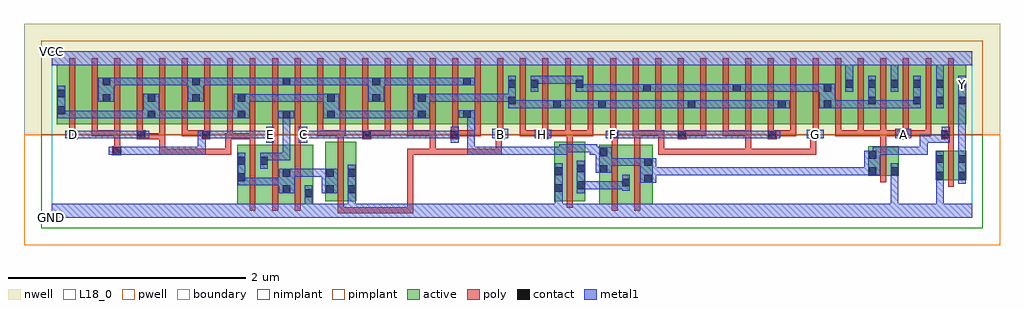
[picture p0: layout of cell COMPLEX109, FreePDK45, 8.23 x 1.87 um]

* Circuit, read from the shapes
.subckt COMPLEX109 A B C D E F G GND H VCC Y
M1 n1 D n2 VSUBS nfet w=0.5u l=0.05u
M2 n2 E n1 VSUBS nfet w=0.5u l=0.05u
M3 GND C n2 VSUBS nfet w=0.5u l=0.05u
M4 GND B n2 VSUBS nfet w=0.5u l=0.05u
M5 n3 H GND VSUBS nfet w=0.5u l=0.05u
M6 n3 F n1 VSUBS nfet w=0.5u l=0.05u
M7 n1 G n3 VSUBS nfet w=0.5u l=0.05u
M8 GND A n1 VSUBS nfet w=0.25u l=0.05u
M9 Y n1 GND VSUBS nfet w=0.25u l=0.05u
M10 n4 D n5 n6 pfet w=0.5u l=0.05u
M11 n1 E n4 n6 pfet w=0.5u l=0.05u
M12 n7 E n1 n6 pfet w=0.5u l=0.05u
M13 n5 D n7 n6 pfet w=0.5u l=0.05u
M14 n8 D n5 n6 pfet w=0.5u l=0.05u
M15 n1 E n8 n6 pfet w=0.5u l=0.05u
M16 n9 E n1 n6 pfet w=0.5u l=0.05u
M17 n5 D n9 n6 pfet w=0.5u l=0.05u
M18 n10 D n5 n6 pfet w=0.5u l=0.05u
M19 n1 E n10 n6 pfet w=0.5u l=0.05u
M20 n11 C n1 n6 pfet w=0.5u l=0.05u
M21 n5 B n11 n6 pfet w=0.5u l=0.05u
M22 n12 B n5 n6 pfet w=0.5u l=0.05u
M23 n1 C n12 n6 pfet w=0.5u l=0.05u
M24 n13 C n1 n6 pfet w=0.5u l=0.05u
M25 n5 B n13 n6 pfet w=0.5u l=0.05u
M26 n14 B n5 n6 pfet w=0.5u l=0.05u
M27 n1 C n14 n6 pfet w=0.5u l=0.05u
M28 n15 C n1 n6 pfet w=0.5u l=0.05u
M29 n5 B n15 n6 pfet w=0.5u l=0.05u
M30 n16 H n5 n6 pfet w=0.5u l=0.05u m=4
M31 n17 F n5 n6 pfet w=0.5u l=0.05u
M32 n16 G n17 n6 pfet w=0.5u l=0.05u
M33 n18 G n16 n6 pfet w=0.5u l=0.05u
M34 n5 F n18 n6 pfet w=0.5u l=0.05u
M35 n19 F n5 n6 pfet w=0.5u l=0.05u
M36 n16 G n19 n6 pfet w=0.5u l=0.05u
M37 n20 G n16 n6 pfet w=0.5u l=0.05u
M38 n5 F n20 n6 pfet w=0.5u l=0.05u
M39 n21 F n5 n6 pfet w=0.5u l=0.05u
M40 n16 G n21 n6 pfet w=0.5u l=0.05u
M41 VCC A n16 n6 pfet w=0.5u l=0.05u m=5
M42 Y n1 VCC n6 pfet w=0.5u l=0.05u
.ends

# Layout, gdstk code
import gdstk
lib = gdstk.Library(unit=1e-6, precision=1e-09)
def R(c, l, rs):  # rectangles x0, y0, x1, y1
    for r in rs: c.add(gdstk.rectangle(r[:2], r[2:], *l))
def A(c, l, x, y, w, h, nx, ny, dx, dy):  # array of equal rectangles
    R(c, l, [(x+i*dx, y+j*dy, x+i*dx+w, y+j*dy+h) for i in range(nx) for j in range(ny)])
active = (1, 0)
pwell = (2, 0)
nwell = (3, 0)
nimplant = (4, 0)
pimplant = (5, 0)
poly = (9, 0)
contact = (10, 0)
metal1 = (11, 0)
L18_0 = (18, 0)
boundary = (235, 0)

complex109 = lib.new_cell('COMPLEX109')
A(complex109, active, 0.042, 0.787, 0.225, 0.5, 3, 1, 0.38, 0)
A(complex109, active, 2.927, 0.787, 0.23, 0.5, 3, 1, 0.38, 0)
A(complex109, active, 3.842, 0.787, 0.265, 0.5, 4, 1, 0.19, 0)
A(complex109, active, 5.207, 0.787, 0.225, 0.5, 3, 1, 0.38, 0)
A(complex109, active, 5.357, 0.787, 0.23, 0.5, 3, 1, 0.38, 0)
A(complex109, active, 6.687, 0.787, 0.265, 0.5, 3, 1, 0.19, 0)
A(complex109, active, 6.877, 0.787, 0.075, 0.413, 3, 1, 0.38, 0)
R(complex109, active, [(1.562,0.112,1.827,0.612), (1.752,0.112,2.017,0.612), (1.942,0.112,2.202,0.612), (4.615,0.112,4.88,0.612), (4.805,0.112,5.065,0.612), (2.127,0.132,2.202,0.612), (2.307,0.137,2.567,0.637), (4.237,0.137,4.497,0.637), (1.562,0.145,1.637,0.612), (1.752,0.145,1.827,0.592), (1.942,0.145,2.017,0.592), (2.307,0.145,2.382,0.637), (2.492,0.145,2.567,0.637), (4.237,0.145,4.312,0.637), (4.422,0.145,4.497,0.637), (4.615,0.145,4.69,0.612), (4.805,0.145,4.88,0.592), (4.99,0.145,5.065,0.612), (7.452,0.315,7.527,0.565), (7.452,0.315,7.712,0.565), (7.637,0.315,7.712,0.565), (6.882,0.352,6.957,0.602), (6.882,0.352,7.142,0.602), (7.067,0.352,7.142,0.602), (0.042,0.787,0.147,1.2), (0.267,0.787,0.497,1.287), (0.422,0.787,0.497,1.2), (0.647,0.787,0.877,1.287), (0.802,0.787,0.877,1.07), (1.027,0.787,1.252,1.287), (1.177,0.787,1.252,1.2), (1.177,0.787,1.407,1.287), (1.407,0.787,1.637,1.287), (1.562,0.787,1.637,1.07), (1.562,0.787,1.787,1.287), (1.787,0.787,2.015,1.287), (1.94,0.787,2.015,1.2), (1.94,0.787,2.167,1.287), (2.167,0.787,2.392,1.287), (2.317,0.787,2.547,1.287), (2.317,0.787,2.392,1.07), (2.547,0.787,2.772,1.287), (2.697,0.787,2.772,1.2), (2.697,0.787,2.927,1.287), (3.082,0.787,3.157,1.07), (3.082,0.787,3.307,1.287), (3.462,0.787,3.537,1.2), (3.462,0.787,3.687,1.287), (3.842,0.787,3.917,1.2), (4.032,0.787,4.107,1.2), (4.222,0.787,4.297,1.07), (4.412,0.787,4.487,1.2), (4.602,0.787,4.677,1.07), (4.602,0.787,4.827,1.287), (4.827,0.787,5.057,1.287), (4.982,0.787,5.057,1.2), (4.982,0.787,5.207,1.287), (5.357,0.787,5.432,1.07), (5.737,0.787,5.812,1.2), (6.117,0.787,6.192,1.07), (6.347,0.787,6.577,1.287), (6.502,0.787,6.762,1.287), (6.502,0.787,6.577,1.2), (6.687,0.787,6.762,1.287), (7.067,0.787,7.142,1.287), (7.257,0.787,7.527,1.287), (7.452,0.787,7.712,1.287), (7.452,0.787,7.527,1.287)])
R(complex109, pwell, [(-0.235,-0.235,7.995,0.7)])
R(complex109, nwell, [(-0.235,0.7,7.995,1.635)])
R(complex109, nimplant, [(-0.09,-0.09,7.85,0.7)])
R(complex109, pimplant, [(-0.09,0.7,7.85,1.49)])
A(complex109, poly, 1.667, 0.057, 0.05, 0.61, 3, 1, 0.19, 0)
A(complex109, poly, 1.667, 0.617, 0.05, 0.095, 3, 1, 0.19, 0)
A(complex109, poly, 0.147, 0.687, 0.05, 0.095, 4, 1, 0.19, 0)
A(complex109, poly, 1.857, 0.687, 0.05, 0.095, 31, 1, 0.19, 0)
A(complex109, poly, 5.467, 0.687, 0.05, 0.05, 3, 1, 0.19, 0)
A(complex109, poly, 0.147, 0.732, 0.05, 0.61, 40, 1, 0.19, 0)
R(complex109, poly, [(2.412,0.037,2.462,0.132), (2.412,0.037,2.462,0.087), (2.412,0.037,2.462,0.087), (2.412,0.037,2.462,0.087), (2.412,0.037,2.725,0.087), (2.675,0.037,2.915,0.087), (2.675,0.037,2.725,0.087), (2.675,0.037,2.725,0.087), (2.675,0.037,2.725,0.087), (2.865,0.037,2.915,0.087), (2.865,0.037,2.915,0.087), (2.865,0.037,2.915,0.087), (2.865,0.037,2.915,0.087), (2.865,0.037,2.915,0.087), (2.865,0.037,3.047,0.087), (2.997,0.037,3.047,0.087), (2.997,0.037,3.047,0.58), (4.72,0.057,4.77,0.667), (4.91,0.057,4.96,0.667), (2.412,0.082,2.462,0.692), (4.342,0.082,4.392,0.692), (7.557,0.26,7.607,0.62), (6.987,0.297,7.037,0.657), (0.51,0.525,0.585,0.6), (0.907,0.53,0.957,0.58), (0.907,0.53,0.957,0.58), (0.907,0.53,0.957,0.58), (0.907,0.53,0.957,0.712), (0.907,0.53,1.18,0.58), (1.13,0.53,1.18,0.58), (1.13,0.53,1.312,0.58), (1.262,0.53,1.312,0.58), (1.262,0.53,1.312,0.58), (1.262,0.53,1.312,0.58), (1.262,0.53,1.512,0.58), (1.462,0.53,1.512,0.58), (1.462,0.53,1.512,0.58), (1.462,0.53,1.512,0.58), (1.462,0.53,1.512,0.58), (1.462,0.53,1.512,0.58), (1.462,0.53,1.512,0.712), (2.997,0.53,3.237,0.58), (2.997,0.53,3.047,0.58), (2.997,0.53,3.047,0.58), (2.997,0.53,3.047,0.58), (3.187,0.53,3.237,0.58), (3.187,0.53,3.237,0.58), (3.187,0.53,3.237,0.58), (3.187,0.53,3.237,0.58), (3.187,0.53,3.237,0.58), (3.187,0.53,3.237,0.58), (3.187,0.53,3.237,0.58), (3.187,0.53,3.237,0.737), (3.187,0.53,3.37,0.58), (3.32,0.53,3.37,0.58), (3.32,0.53,3.37,0.58), (3.32,0.53,3.37,0.58), (3.32,0.53,3.567,0.58), (3.517,0.53,3.567,0.58), (3.517,0.53,3.792,0.58), (3.742,0.53,3.792,0.58), (3.742,0.53,3.792,0.58), (3.742,0.53,3.792,0.58), (3.742,0.53,3.792,0.58), (3.742,0.53,3.792,0.58), (3.742,0.53,3.792,0.712), (5.115,0.53,5.165,0.58), (5.115,0.53,5.165,0.58), (5.115,0.53,5.165,0.58), (5.115,0.53,5.335,0.58), (5.115,0.53,5.165,0.737), (5.285,0.53,5.335,0.58), (5.285,0.53,5.485,0.58), (5.435,0.53,5.485,0.58), (5.435,0.53,5.485,0.58), (5.435,0.53,5.485,0.58), (5.435,0.53,5.65,0.58), (5.6,0.53,5.65,0.58), (5.6,0.53,5.65,0.58), (5.6,0.53,5.65,0.58), (5.6,0.53,5.897,0.58), (5.847,0.53,5.897,0.58), (5.847,0.53,5.897,0.58), (5.847,0.53,5.897,0.58), (5.847,0.53,5.897,0.58), (5.847,0.53,5.897,0.58), (5.847,0.53,6.145,0.58), (5.847,0.53,5.897,0.737), (6.095,0.53,6.145,0.58), (6.095,0.53,6.145,0.58), (6.095,0.53,6.145,0.58), (6.095,0.53,6.277,0.58), (6.227,0.53,6.277,0.58), (6.227,0.53,6.277,0.58), (6.227,0.53,6.277,0.58), (6.227,0.53,6.447,0.58), (6.397,0.53,6.447,0.58), (6.397,0.53,6.447,0.58), (6.397,0.53,6.447,0.58), (6.397,0.53,6.447,0.58), (6.397,0.53,6.447,0.58), (6.397,0.53,6.447,0.712), (0.527,0.55,0.577,0.6), (0.527,0.55,0.577,0.6), (0.527,0.55,0.577,0.737), (7.557,0.57,7.607,0.712), (6.987,0.607,7.037,0.737), (4.72,0.617,4.77,0.712), (4.91,0.617,4.96,0.737), (2.412,0.642,2.462,0.737), (4.342,0.642,4.392,0.737), (0.142,0.662,0.217,0.737), (0.717,0.662,0.792,0.737), (0.742,0.662,0.792,0.712), (0.742,0.662,0.792,0.712), (0.742,0.662,0.957,0.712), (0.907,0.662,0.957,0.712), (0.907,0.662,0.957,0.712), (0.907,0.662,0.957,0.712), (0.907,0.662,0.957,0.782), (1.262,0.662,1.337,0.737), (1.462,0.662,1.527,0.712), (1.477,0.662,1.717,0.712), (1.477,0.662,1.527,0.782), (1.667,0.662,1.717,0.712), (1.667,0.662,1.717,0.712), (1.667,0.662,1.717,0.712), (1.667,0.662,1.717,0.782), (1.802,0.662,1.907,0.737), (2.047,0.662,2.152,0.737), (2.617,0.662,2.692,0.737), (3.36,0.662,3.435,0.737), (3.742,0.662,3.817,0.737), (4.107,0.662,4.187,0.737), (4.702,0.662,4.777,0.737), (5.277,0.662,5.352,0.737), (6.037,0.662,6.112,0.737), (6.397,0.662,6.472,0.737), (7.142,0.662,7.227,0.737), (7.5,0.662,7.607,0.737), (0.337,0.687,0.577,0.737), (0.337,0.687,0.387,0.737), (0.527,0.687,0.577,0.737), (0.527,0.687,0.577,0.737), (0.527,0.687,0.577,0.737), (1.097,0.687,1.147,0.782), (1.097,0.687,1.147,0.737), (1.097,0.687,1.147,0.737), (1.097,0.687,1.147,0.737), (1.097,0.687,1.312,0.737), (1.287,0.687,1.337,0.782), (2.237,0.687,2.287,0.737), (2.237,0.687,2.287,0.737), (2.237,0.687,2.287,0.737), (2.237,0.687,2.462,0.737), (2.412,0.687,2.477,0.737), (2.642,0.687,2.692,0.737), (2.642,0.687,2.692,0.737), (2.642,0.687,2.857,0.737), (2.807,0.687,2.857,0.737), (2.997,0.687,3.237,0.737), (2.997,0.687,3.047,0.737), (2.997,0.687,3.047,0.737), (2.997,0.687,3.047,0.737), (3.187,0.687,3.237,0.737), (3.385,0.687,3.617,0.737), (3.567,0.687,3.617,0.737), (3.567,0.687,3.617,0.737), (3.567,0.687,3.617,0.737), (3.947,0.687,3.997,0.737), (3.947,0.687,3.997,0.737), (3.947,0.687,3.997,0.737), (3.947,0.687,4.157,0.737), (4.137,0.687,4.377,0.737), (4.137,0.687,4.187,0.737), (4.137,0.687,4.187,0.737), (4.327,0.687,4.392,0.737), (4.342,0.687,4.392,0.737), (4.342,0.687,4.392,0.737), (4.342,0.687,4.567,0.737), (4.517,0.687,4.567,0.737), (4.897,0.687,4.96,0.737), (4.91,0.687,4.96,0.737), (4.91,0.687,4.96,0.737), (4.91,0.687,5.137,0.737), (5.087,0.687,5.157,0.737), (5.107,0.687,5.157,0.737), (5.107,0.687,5.165,0.737), (5.302,0.687,5.517,0.737), (5.467,0.687,5.517,0.737), (5.467,0.687,5.517,0.737), (5.657,0.687,5.897,0.737), (5.847,0.687,5.897,0.737), (5.847,0.687,5.897,0.737), (6.062,0.687,6.277,0.737), (6.227,0.687,6.277,0.737), (6.227,0.687,6.277,0.737), (6.227,0.687,6.277,0.737), (6.607,0.687,6.847,0.737), (6.607,0.687,6.657,0.737), (6.607,0.687,6.657,0.737), (6.607,0.687,6.657,0.737), (6.797,0.687,7.037,0.737), (6.797,0.687,6.847,0.737), (6.797,0.687,6.847,0.737), (6.797,0.687,6.847,0.737), (6.987,0.687,7.037,0.737), (6.987,0.687,7.037,0.737), (6.987,0.687,7.037,0.737), (6.987,0.687,7.192,0.737), (7.177,0.687,7.417,0.737), (7.177,0.687,7.227,0.737), (7.177,0.687,7.227,0.737), (7.367,0.687,7.417,0.737)])
A(complex109, contact, 6.692, 1.095, 0.065, 0.065, 4, 1, 0.19, 0)
R(complex109, contact, [(2.132,0.172,2.197,0.237), (1.947,0.205,2.012,0.27), (2.312,0.205,2.377,0.27), (2.497,0.205,2.562,0.27), (4.242,0.217,4.307,0.282), (4.427,0.24,4.492,0.305), (4.81,0.262,4.875,0.327), (4.995,0.295,5.06,0.36), (1.567,0.307,1.632,0.372), (7.457,0.32,7.522,0.385), (7.642,0.32,7.707,0.385), (1.947,0.345,2.012,0.41), (2.312,0.345,2.377,0.41), (2.497,0.345,2.562,0.41), (4.242,0.357,4.307,0.422), (6.887,0.357,6.952,0.422), (7.072,0.357,7.137,0.422), (4.62,0.377,4.685,0.442), (4.427,0.38,4.492,0.445), (4.995,0.435,5.06,0.5), (1.567,0.447,1.632,0.512), (1.757,0.447,1.822,0.512), (7.457,0.46,7.522,0.525), (7.642,0.46,7.707,0.525), (6.887,0.497,6.952,0.562), (4.62,0.517,4.685,0.582), (0.515,0.53,0.58,0.595), (0.147,0.667,0.212,0.732), (0.722,0.667,0.787,0.732), (1.267,0.667,1.332,0.732), (1.807,0.667,1.872,0.732), (2.082,0.667,2.147,0.732), (2.622,0.667,2.687,0.732), (3.365,0.667,3.43,0.732), (3.747,0.667,3.812,0.732), (4.112,0.667,4.177,0.732), (4.707,0.667,4.772,0.732), (5.282,0.667,5.347,0.732), (6.042,0.667,6.107,0.732), (6.402,0.667,6.467,0.732), (7.147,0.667,7.212,0.732), (7.505,0.667,7.57,0.732), (0.807,0.837,0.872,0.902), (1.567,0.837,1.632,0.902), (1.945,0.837,2.01,0.902), (2.322,0.837,2.387,0.902), (3.087,0.837,3.152,0.902), (3.467,0.84,3.532,0.905), (0.047,0.872,0.112,0.937), (4.227,0.922,4.292,0.987), (4.607,0.922,4.672,0.987), (5.362,0.922,5.427,0.987), (6.122,0.922,6.187,0.987), (6.507,0.922,6.572,0.987), (3.847,0.955,3.912,1.02), (6.882,0.955,6.947,1.02), (7.262,0.955,7.327,1.02), (7.457,0.955,7.522,1.02), (7.642,0.955,7.707,1.02), (0.427,0.975,0.492,1.04), (1.182,0.975,1.247,1.04), (2.702,0.975,2.767,1.04), (0.807,0.977,0.872,1.042), (1.567,0.977,1.632,1.042), (2.322,0.977,2.387,1.042), (3.087,0.977,3.152,1.042), (0.047,1.012,0.112,1.077), (4.987,1.06,5.052,1.125), (5.742,1.06,5.807,1.125), (6.507,1.062,6.572,1.127), (3.847,1.095,3.912,1.16), (4.037,1.095,4.102,1.16), (4.417,1.095,4.482,1.16), (7.457,1.095,7.522,1.16), (7.642,1.095,7.707,1.16), (0.427,1.115,0.492,1.18), (1.182,1.115,1.247,1.18), (1.945,1.115,2.01,1.18), (2.702,1.115,2.767,1.18), (3.467,1.115,3.532,1.18)])
R(complex109, metal1, [(0,0,7.76,0.115), (2.132,0.05,2.197,0.202), (2.497,0.05,2.562,0.115), (2.497,0.05,2.562,0.115), (2.497,0.05,2.562,0.235), (4.242,0.05,4.307,0.115), (4.242,0.05,4.307,0.115), (4.242,0.05,4.307,0.247), (7.072,0.05,7.137,0.387), (7.457,0.05,7.522,0.115), (7.457,0.05,7.522,0.115), (7.457,0.05,7.522,0.115), (7.457,0.05,7.522,0.115), (7.457,0.05,7.522,0.115), (7.457,0.05,7.522,0.115), (7.457,0.05,7.522,0.35), (2.132,0.137,2.197,0.202), (2.132,0.137,2.197,0.202), (2.132,0.137,2.197,0.272), (2.497,0.17,2.562,0.445), (4.242,0.182,4.307,0.457), (1.912,0.205,2.047,0.41), (2.277,0.205,2.412,0.41), (4.427,0.205,4.492,0.48), (4.81,0.227,4.875,0.362), (4.427,0.24,4.492,0.305), (4.427,0.24,4.492,0.305), (4.427,0.24,4.737,0.305), (4.672,0.24,4.737,0.305), (4.672,0.24,4.737,0.305), (4.672,0.24,4.737,0.305), (4.672,0.24,4.875,0.305), (1.567,0.272,1.632,0.547), (1.567,0.272,1.667,0.337), (1.602,0.272,1.667,0.337), (1.602,0.272,1.822,0.337), (1.757,0.272,1.822,0.337), (1.757,0.272,1.822,0.337), (1.757,0.272,1.822,0.337), (1.757,0.272,1.977,0.337), (7.457,0.285,7.522,0.56), (7.642,0.285,7.707,0.56), (4.96,0.295,5.095,0.5), (7.072,0.322,7.137,0.387), (7.072,0.322,7.137,0.387), (7.072,0.322,7.137,0.387), (7.072,0.322,7.137,0.387), (7.072,0.322,7.137,0.387), (7.072,0.322,7.137,0.387), (7.072,0.322,7.137,0.457), (1.982,0.345,2.047,0.41), (1.982,0.345,2.047,0.41), (1.982,0.345,2.185,0.41), (2.12,0.345,2.185,0.41), (2.12,0.345,2.342,0.41), (2.277,0.345,2.342,0.41), (2.277,0.345,2.342,0.41), (5.03,0.357,5.175,0.422), (5.11,0.357,5.175,0.422), (5.11,0.357,5.232,0.422), (5.167,0.357,5.232,0.422), (5.167,0.357,5.455,0.422), (5.39,0.357,5.455,0.422), (5.39,0.357,5.455,0.422), (5.39,0.357,5.455,0.422), (5.39,0.357,5.6,0.422), (5.535,0.357,5.6,0.422), (5.535,0.357,5.6,0.422), (5.535,0.357,5.6,0.422), (5.535,0.357,5.737,0.422), (5.672,0.357,5.737,0.422), (5.672,0.357,5.877,0.422), (5.812,0.357,5.877,0.422), (5.812,0.357,5.877,0.422), (5.812,0.357,5.877,0.422), (5.812,0.357,6.015,0.422), (5.95,0.357,6.015,0.422), (5.95,0.357,6.015,0.422), (5.95,0.357,6.015,0.422), (5.95,0.357,6.152,0.422), (6.087,0.357,6.152,0.422), (6.087,0.357,6.295,0.422), (6.23,0.357,6.295,0.422), (6.23,0.357,6.295,0.422), (6.23,0.357,6.295,0.422), (6.23,0.357,6.432,0.422), (6.367,0.357,6.432,0.422), (6.367,0.357,6.57,0.422), (6.505,0.357,6.57,0.422), (6.505,0.357,6.57,0.422), (6.505,0.357,6.57,0.422), (6.505,0.357,6.745,0.422), (6.68,0.357,6.745,0.422), (6.68,0.357,6.745,0.422), (6.68,0.357,6.745,0.422), (6.68,0.357,6.917,0.422), (6.852,0.357,6.987,0.562), (4.585,0.377,4.72,0.595), (1.757,0.412,1.822,0.547), (4.655,0.435,4.875,0.5), (4.81,0.435,4.875,0.5), (4.81,0.435,4.875,0.5), (4.81,0.435,4.875,0.5), (4.81,0.435,5.025,0.5), (4.96,0.435,5.025,0.5), (4.96,0.435,5.025,0.5), (1.757,0.482,1.822,0.547), (1.757,0.482,1.822,0.547), (1.757,0.482,2.01,0.547), (1.945,0.482,2.01,0.547), (1.945,0.482,2.01,0.902), (7.642,0.495,7.707,0.56), (7.642,0.495,7.707,0.56), (7.642,0.495,7.707,0.56), (7.642,0.495,7.707,0.56), (7.642,0.495,7.707,0.985), (6.922,0.497,6.987,0.595), (0.48,0.53,0.615,0.595), (0.55,0.53,0.7,0.595), (0.635,0.53,0.7,0.595), (0.635,0.53,0.765,0.595), (0.7,0.53,0.765,0.595), (0.7,0.53,0.937,0.595), (0.872,0.53,0.937,0.595), (0.872,0.53,0.937,0.595), (0.872,0.53,0.937,0.595), (0.872,0.53,0.937,0.595), (0.872,0.53,0.937,0.595), (0.872,0.53,1.075,0.595), (1.01,0.53,1.075,0.595), (1.01,0.53,1.075,0.595), (1.01,0.53,1.075,0.595), (1.01,0.53,1.297,0.595), (1.232,0.53,1.297,0.595), (1.232,0.53,1.297,0.732), (3.502,0.53,3.567,0.595), (3.502,0.53,3.567,0.595), (3.502,0.53,3.567,0.595), (3.502,0.53,3.705,0.595), (3.502,0.53,3.567,0.905), (3.64,0.53,3.705,0.595), (3.64,0.53,3.705,0.595), (3.64,0.53,3.705,0.595), (3.64,0.53,3.842,0.595), (3.777,0.53,3.842,0.595), (3.777,0.53,3.842,0.595), (3.777,0.53,3.842,0.595), (3.777,0.53,3.842,0.595), (3.777,0.53,3.842,0.595), (3.777,0.53,4.12,0.595), (4.055,0.53,4.12,0.595), (4.055,0.53,4.12,0.595), (4.055,0.53,4.12,0.595), (4.055,0.53,4.345,0.595), (4.28,0.53,4.345,0.595), (4.28,0.53,4.345,0.595), (4.28,0.53,4.345,0.617), (4.535,0.53,4.65,0.595), (4.535,0.53,4.6,0.617), (6.922,0.53,6.987,0.595), (6.922,0.53,6.987,0.595), (6.922,0.53,6.987,0.595), (6.922,0.53,7.19,0.595), (7.125,0.53,7.19,0.595), (7.125,0.53,7.19,0.595), (7.125,0.53,7.19,0.595), (7.125,0.53,7.385,0.595), (7.32,0.53,7.385,0.595), (7.32,0.53,7.385,0.595), (7.32,0.53,7.385,0.697), (4.28,0.552,4.5,0.617), (4.435,0.552,4.5,0.617), (4.435,0.552,4.6,0.617), (1.807,0.632,1.872,0.767), (2.082,0.632,2.152,0.767), (3.365,0.632,3.43,0.767), (7.32,0.632,7.385,0.697), (7.32,0.632,7.385,0.697), (7.32,0.632,7.57,0.697), (7.505,0.632,7.57,0.697), (7.505,0.632,7.57,0.697), (7.505,0.632,7.57,0.767), (0.112,0.667,0.247,0.732), (0.182,0.667,0.25,0.732), (0.185,0.667,0.25,0.732), (0.185,0.667,0.387,0.732), (0.322,0.667,0.387,0.732), (0.322,0.667,0.387,0.732), (0.322,0.667,0.387,0.732), (0.322,0.667,0.615,0.732), (0.55,0.667,0.615,0.732), (0.55,0.667,0.665,0.732), (0.6,0.667,0.665,0.732), (0.6,0.667,0.752,0.732), (0.687,0.667,0.822,0.732), (1.232,0.667,1.297,0.732), (1.232,0.667,1.297,0.732), (1.232,0.667,1.367,0.732), (1.302,0.667,1.46,0.732), (1.395,0.667,1.46,0.732), (1.395,0.667,1.53,0.732), (1.465,0.667,1.53,0.732), (1.465,0.667,1.685,0.732), (1.62,0.667,1.685,0.732), (1.62,0.667,1.685,0.732), (1.62,0.667,1.685,0.732), (1.62,0.667,1.837,0.732), (1.772,0.667,1.837,0.732), (1.772,0.667,1.872,0.732), (2.087,0.667,2.185,0.732), (2.12,0.667,2.185,0.732), (2.12,0.667,2.377,0.732), (2.312,0.667,2.377,0.732), (2.312,0.667,2.377,0.732), (2.312,0.667,2.377,0.732), (2.312,0.667,2.515,0.732), (2.45,0.667,2.515,0.732), (2.45,0.667,2.585,0.732), (2.52,0.667,2.585,0.732), (2.52,0.667,2.652,0.732), (2.587,0.667,2.722,0.732), (2.657,0.667,2.722,0.732), (2.657,0.667,2.722,0.732), (2.657,0.667,2.98,0.732), (2.915,0.667,2.98,0.732), (2.915,0.667,2.98,0.732), (2.915,0.667,2.98,0.732), (2.915,0.667,3.117,0.732), (3.052,0.667,3.117,0.732), (3.052,0.667,3.117,0.732), (3.052,0.667,3.117,0.732), (3.052,0.667,3.255,0.732), (3.19,0.667,3.255,0.732), (3.19,0.667,3.325,0.732), (3.26,0.667,3.325,0.732), (3.26,0.667,3.43,0.732), (3.712,0.667,3.847,0.75), (4.072,0.667,4.212,0.742), (4.672,0.667,4.807,0.732), (4.742,0.667,4.88,0.732), (4.815,0.667,4.88,0.732), (4.815,0.667,5.037,0.732), (4.972,0.667,5.037,0.732), (4.972,0.667,5.037,0.732), (4.972,0.667,5.037,0.732), (4.972,0.667,5.175,0.732), (5.11,0.667,5.175,0.732), (5.11,0.667,5.245,0.732), (5.18,0.667,5.245,0.732), (5.18,0.667,5.312,0.732), (5.247,0.667,5.382,0.732), (5.317,0.667,5.382,0.732), (5.317,0.667,5.382,0.732), (5.317,0.667,5.6,0.732), (5.535,0.667,5.6,0.732), (5.535,0.667,5.6,0.732), (5.535,0.667,5.6,0.732), (5.535,0.667,5.737,0.732), (5.672,0.667,5.737,0.732), (5.672,0.667,5.875,0.732), (5.81,0.667,5.875,0.732), (5.81,0.667,5.875,0.732), (5.81,0.667,5.875,0.732), (5.81,0.667,6.015,0.732), (5.95,0.667,6.015,0.732), (5.95,0.667,6.072,0.732), (6.007,0.667,6.142,0.732), (6.367,0.667,6.507,0.742), (7.112,0.667,7.247,0.75), (0.047,0.837,0.112,1.112), (0.047,0.837,0.25,0.902), (0.185,0.837,0.25,0.902), (0.185,0.837,0.25,0.902), (0.185,0.837,0.25,0.902), (0.185,0.837,0.387,0.902), (0.322,0.837,0.387,0.902), (0.322,0.837,0.387,0.902), (0.322,0.837,0.387,0.902), (0.322,0.837,0.615,0.902), (0.55,0.837,0.615,0.902), (0.55,0.837,0.665,0.902), (0.6,0.837,0.665,0.902), (0.6,0.837,0.77,0.902), (0.705,0.837,0.77,0.902), (0.705,0.837,0.837,0.902), (0.772,0.837,0.907,1.042), (0.842,0.837,0.907,0.902), (0.842,0.837,0.907,0.902), (0.842,0.837,1.075,0.902), (1.01,0.837,1.075,0.902), (1.01,0.837,1.075,0.902), (1.01,0.837,1.075,0.902), (1.01,0.837,1.212,0.902), (1.147,0.837,1.212,0.902), (1.147,0.837,1.212,0.902), (1.147,0.837,1.212,0.902), (1.147,0.837,1.435,0.902), (1.37,0.837,1.435,0.902), (1.37,0.837,1.53,0.902), (1.465,0.837,1.53,0.902), (1.465,0.837,1.597,0.902), (1.532,0.837,1.667,1.042), (1.91,0.837,2.045,0.902), (1.945,0.837,2.01,0.902), (1.945,0.837,2.01,0.902), (2.287,0.837,2.422,1.042), (2.357,0.837,2.515,0.902), (2.45,0.837,2.515,0.902), (2.45,0.837,2.585,0.902), (2.52,0.837,2.585,0.902), (2.52,0.837,2.802,0.902), (2.737,0.837,2.802,0.902), (2.737,0.837,2.802,0.902), (2.737,0.837,2.802,0.902), (2.737,0.837,2.94,0.902), (2.875,0.837,2.94,0.902), (2.875,0.837,2.94,0.902), (2.875,0.837,2.94,0.902), (2.875,0.837,3.117,0.902), (3.052,0.837,3.117,0.902), (3.052,0.837,3.117,0.902), (3.052,0.837,3.187,1.042), (3.432,0.84,3.567,0.905), (3.502,0.84,3.567,0.905), (3.502,0.84,3.567,0.905), (3.847,0.92,3.912,1.195), (6.882,0.92,6.947,1.195), (7.262,0.92,7.327,1.195), (7.457,0.92,7.522,1.195), (7.642,0.92,7.707,0.985), (7.642,0.92,7.707,0.985), (7.642,0.92,7.712,1.195), (3.847,0.922,3.912,0.987), (3.847,0.922,3.912,0.987), (3.847,0.922,4.12,0.987), (4.055,0.922,4.12,0.987), (4.055,0.922,4.12,0.987), (4.055,0.922,4.12,0.987), (4.055,0.922,4.257,0.987), (4.192,0.922,4.327,0.987), (4.262,0.922,4.327,0.987), (4.262,0.922,4.327,0.987), (4.262,0.922,4.5,0.987), (4.435,0.922,4.5,0.987), (4.435,0.922,4.5,0.987), (4.435,0.922,4.5,0.987), (4.435,0.922,4.637,0.987), (4.572,0.922,4.707,0.987), (4.642,0.922,4.875,0.987), (4.81,0.922,4.875,0.987), (4.81,0.922,4.875,0.987), (4.81,0.922,4.875,0.987), (4.81,0.922,5.017,0.987), (4.952,0.922,5.017,0.987), (4.952,0.922,5.017,0.987), (4.952,0.922,5.017,0.987), (4.952,0.922,5.175,0.987), (5.11,0.922,5.175,0.987), (5.11,0.922,5.232,0.987), (5.167,0.922,5.232,0.987), (5.167,0.922,5.392,0.987), (5.327,0.922,5.392,0.987), (5.327,0.922,5.392,0.987), (5.327,0.922,5.462,0.987), (5.397,0.922,5.6,0.987), (5.535,0.922,5.6,0.987), (5.535,0.922,5.6,0.987), (5.535,0.922,5.6,0.987), (5.535,0.922,5.737,0.987), (5.672,0.922,5.737,0.987), (5.672,0.922,5.737,0.987), (5.672,0.922,5.737,0.987), (5.672,0.922,5.875,0.987), (5.81,0.922,5.875,0.987), (5.81,0.922,6.015,0.987), (5.95,0.922,6.015,0.987), (5.95,0.922,6.152,0.987), (6.087,0.922,6.152,0.987), (6.087,0.922,6.152,0.987), (6.087,0.922,6.222,0.987), (6.472,0.922,6.607,1.127), (6.542,0.922,6.607,0.987), (6.542,0.922,6.607,0.987), (6.542,0.922,6.78,0.987), (6.715,0.922,6.78,0.987), (6.715,0.922,6.78,0.987), (6.715,0.922,6.78,0.987), (6.715,0.922,6.947,0.987), (6.882,0.922,6.947,0.987), (6.882,0.922,6.947,0.987), (6.882,0.922,7.19,0.987), (7.125,0.922,7.19,0.987), (7.125,0.922,7.19,0.987), (7.125,0.922,7.19,0.987), (7.125,0.922,7.327,0.987), (0.392,0.975,0.527,1.18), (1.147,0.975,1.282,1.18), (1.602,0.975,1.667,1.04), (1.602,0.975,1.667,1.04), (1.602,0.975,1.837,1.04), (1.772,0.975,1.837,1.04), (1.772,0.975,1.837,1.04), (1.772,0.975,1.837,1.04), (1.772,0.975,1.975,1.04), (1.91,0.975,1.975,1.04), (1.91,0.975,2.185,1.04), (2.12,0.975,2.185,1.04), (2.12,0.975,2.185,1.04), (2.12,0.975,2.185,1.04), (2.12,0.975,2.352,1.04), (2.287,0.975,2.352,1.04), (2.287,0.975,2.352,1.04), (2.667,0.975,2.802,1.18), (3.122,0.977,3.255,1.042), (3.19,0.977,3.255,1.042), (3.19,0.977,3.36,1.042), (3.295,0.977,3.36,1.042), (3.295,0.977,3.392,1.042), (3.327,0.977,3.392,1.042), (3.327,0.977,3.567,1.042), (3.502,0.977,3.567,1.042), (3.502,0.977,3.567,1.042), (3.502,0.977,3.567,1.042), (3.502,0.977,3.705,1.042), (3.64,0.977,3.705,1.042), (3.64,0.977,3.705,1.042), (3.64,0.977,3.705,1.042), (3.64,0.977,3.912,1.042), (4.037,1.06,4.102,1.195), (4.417,1.06,4.482,1.125), (4.417,1.06,4.482,1.125), (4.417,1.06,4.482,1.195), (4.417,1.06,4.737,1.125), (4.672,1.06,4.737,1.125), (4.672,1.06,4.737,1.125), (4.672,1.06,4.737,1.125), (4.672,1.06,4.875,1.125), (4.81,1.06,4.875,1.125), (4.81,1.06,5.017,1.125), (4.952,1.06,5.017,1.125), (4.952,1.06,5.017,1.125), (4.952,1.06,5.087,1.125), (5.022,1.06,5.175,1.125), (5.11,1.06,5.175,1.125), (5.11,1.06,5.245,1.125), (5.18,1.06,5.245,1.125), (5.18,1.06,5.382,1.125), (5.317,1.06,5.382,1.125), (5.317,1.06,5.382,1.125), (5.317,1.06,5.382,1.125), (5.317,1.06,5.6,1.125), (5.535,1.06,5.6,1.125), (5.535,1.06,5.6,1.125), (5.535,1.06,5.6,1.125), (5.535,1.06,5.737,1.125), (5.672,1.06,5.737,1.125), (5.672,1.06,5.772,1.125), (5.707,1.06,5.842,1.125), (5.777,1.06,5.877,1.125), (5.812,1.06,5.877,1.125), (5.812,1.06,6.015,1.125), (5.95,1.06,6.015,1.125), (5.95,1.06,6.157,1.125), (6.092,1.06,6.157,1.125), (6.092,1.06,6.157,1.125), (6.092,1.06,6.157,1.125), (6.092,1.06,6.295,1.125), (6.23,1.06,6.295,1.125), (6.23,1.06,6.295,1.125), (6.23,1.06,6.295,1.125), (6.23,1.06,6.432,1.125), (6.367,1.06,6.432,1.125), (6.367,1.06,6.537,1.125), (6.692,1.06,6.757,1.195), (7.072,1.06,7.137,1.195), (0.462,1.115,0.527,1.18), (0.462,1.115,0.527,1.18), (0.462,1.115,0.7,1.18), (0.635,1.115,0.7,1.18), (0.635,1.115,0.752,1.18), (0.687,1.115,0.752,1.18), (0.687,1.115,0.937,1.18), (0.872,1.115,0.937,1.18), (0.872,1.115,0.937,1.18), (0.872,1.115,0.937,1.18), (0.872,1.115,1.075,1.18), (1.01,1.115,1.075,1.18), (1.01,1.115,1.075,1.18), (1.01,1.115,1.075,1.18), (1.01,1.115,1.212,1.18), (1.217,1.115,1.282,1.18), (1.217,1.115,1.282,1.18), (1.217,1.115,1.435,1.18), (1.37,1.115,1.435,1.18), (1.37,1.115,1.53,1.18), (1.465,1.115,1.53,1.18), (1.465,1.115,1.667,1.18), (1.602,1.115,1.667,1.18), (1.602,1.115,1.667,1.18), (1.602,1.115,1.667,1.18), (1.602,1.115,1.837,1.18), (1.772,1.115,1.837,1.18), (1.772,1.115,1.837,1.18), (1.772,1.115,1.837,1.18), (1.772,1.115,1.975,1.18), (1.91,1.115,2.045,1.18), (1.98,1.115,2.185,1.18), (2.12,1.115,2.185,1.18), (2.12,1.115,2.185,1.18), (2.12,1.115,2.185,1.18), (2.12,1.115,2.377,1.18), (2.312,1.115,2.377,1.18), (2.312,1.115,2.377,1.18), (2.312,1.115,2.377,1.18), (2.312,1.115,2.515,1.18), (2.45,1.115,2.515,1.18), (2.45,1.115,2.56,1.18), (2.495,1.115,2.56,1.18), (2.495,1.115,2.732,1.18), (2.667,1.115,2.732,1.18), (2.667,1.115,2.732,1.18), (2.737,1.115,2.94,1.18), (2.875,1.115,2.94,1.18), (2.875,1.115,2.98,1.18), (2.915,1.115,2.98,1.18), (2.915,1.115,3.117,1.18), (3.052,1.115,3.117,1.18), (3.052,1.115,3.117,1.18), (3.052,1.115,3.117,1.18), (3.052,1.115,3.255,1.18), (3.19,1.115,3.255,1.18), (3.19,1.115,3.325,1.18), (3.26,1.115,3.325,1.18), (3.26,1.115,3.43,1.18), (3.365,1.115,3.43,1.18), (3.365,1.115,3.497,1.18), (3.432,1.115,3.567,1.18), (4.037,1.13,4.102,1.195), (4.037,1.13,4.102,1.195), (4.037,1.13,4.345,1.195), (4.28,1.13,4.345,1.195), (4.28,1.13,4.345,1.195), (4.28,1.13,4.345,1.195), (4.28,1.13,4.482,1.195), (6.692,1.13,6.757,1.35), (7.072,1.13,7.137,1.35), (7.457,1.13,7.522,1.35), (0,1.285,7.76,1.4)])
R(complex109, L18_0, [(0,0,7.76,0.115), (2.132,0.05,2.197,0.202), (2.497,0.05,2.562,0.115), (2.497,0.05,2.562,0.115), (2.497,0.05,2.562,0.235), (4.242,0.05,4.307,0.115), (4.242,0.05,4.307,0.115), (4.242,0.05,4.307,0.247), (7.072,0.05,7.137,0.387), (7.457,0.05,7.522,0.115), (7.457,0.05,7.522,0.115), (7.457,0.05,7.522,0.115), (7.457,0.05,7.522,0.115), (7.457,0.05,7.522,0.115), (7.457,0.05,7.522,0.115), (7.457,0.05,7.522,0.35), (2.132,0.137,2.197,0.202), (2.132,0.137,2.197,0.202), (2.132,0.137,2.197,0.272), (2.497,0.17,2.562,0.445), (4.242,0.182,4.307,0.457), (7.457,0.285,7.522,0.56), (7.642,0.285,7.707,0.56), (7.072,0.322,7.137,0.387), (7.072,0.322,7.137,0.387), (7.072,0.322,7.137,0.387), (7.072,0.322,7.137,0.387), (7.072,0.322,7.137,0.387), (7.072,0.322,7.137,0.387), (7.072,0.322,7.137,0.457), (7.642,0.495,7.707,0.56), (7.642,0.495,7.707,0.56), (7.642,0.495,7.707,0.56), (7.642,0.495,7.707,0.56), (7.642,0.495,7.707,0.985), (0.48,0.53,0.615,0.595), (0.55,0.53,0.7,0.595), (0.635,0.53,0.7,0.595), (0.635,0.53,0.765,0.595), (0.7,0.53,0.765,0.595), (0.7,0.53,0.937,0.595), (0.872,0.53,0.937,0.595), (0.872,0.53,0.937,0.595), (0.872,0.53,0.937,0.595), (0.872,0.53,0.937,0.595), (0.872,0.53,0.937,0.595), (0.872,0.53,1.075,0.595), (1.01,0.53,1.075,0.595), (1.01,0.53,1.075,0.595), (1.01,0.53,1.075,0.595), (1.01,0.53,1.297,0.595), (1.232,0.53,1.297,0.595), (1.232,0.53,1.297,0.732), (1.807,0.632,1.872,0.767), (2.082,0.632,2.152,0.767), (3.365,0.632,3.43,0.767), (0.112,0.667,0.247,0.732), (0.147,0.667,0.212,0.732), (0.182,0.667,0.25,0.732), (0.185,0.667,0.25,0.732), (0.185,0.667,0.387,0.732), (0.322,0.667,0.387,0.732), (0.322,0.667,0.387,0.732), (0.322,0.667,0.387,0.732), (0.322,0.667,0.615,0.732), (0.55,0.667,0.615,0.732), (0.55,0.667,0.665,0.732), (0.6,0.667,0.665,0.732), (0.6,0.667,0.752,0.732), (0.687,0.667,0.822,0.732), (1.232,0.667,1.367,0.732), (1.232,0.667,1.297,0.732), (1.232,0.667,1.297,0.732), (1.302,0.667,1.46,0.732), (1.395,0.667,1.53,0.732), (1.395,0.667,1.46,0.732), (1.465,0.667,1.53,0.732), (1.465,0.667,1.685,0.732), (1.62,0.667,1.685,0.732), (1.62,0.667,1.685,0.732), (1.62,0.667,1.685,0.732), (1.62,0.667,1.837,0.732), (1.772,0.667,1.837,0.732), (1.772,0.667,1.872,0.732), (1.807,0.667,1.872,0.732), (2.087,0.667,2.152,0.732), (2.087,0.667,2.185,0.732), (2.12,0.667,2.185,0.732), (2.12,0.667,2.377,0.732), (2.312,0.667,2.377,0.732), (2.312,0.667,2.377,0.732), (2.312,0.667,2.377,0.732), (2.312,0.667,2.515,0.732), (2.45,0.667,2.585,0.732), (2.45,0.667,2.515,0.732), (2.52,0.667,2.585,0.732), (2.52,0.667,2.652,0.732), (2.587,0.667,2.722,0.732), (2.657,0.667,2.722,0.732), (2.657,0.667,2.722,0.732), (2.657,0.667,2.98,0.732), (2.915,0.667,2.98,0.732), (2.915,0.667,2.98,0.732), (2.915,0.667,2.98,0.732), (2.915,0.667,3.117,0.732), (3.052,0.667,3.117,0.732), (3.052,0.667,3.117,0.732), (3.052,0.667,3.117,0.732), (3.052,0.667,3.255,0.732), (3.19,0.667,3.325,0.732), (3.19,0.667,3.255,0.732), (3.26,0.667,3.325,0.732), (3.26,0.667,3.43,0.732), (3.712,0.667,3.847,0.75), (3.747,0.667,3.812,0.732), (4.072,0.667,4.212,0.742), (4.107,0.667,4.172,0.732), (4.672,0.667,4.807,0.732), (4.707,0.667,4.772,0.732), (4.742,0.667,4.88,0.732), (4.815,0.667,4.88,0.732), (4.815,0.667,5.037,0.732), (4.972,0.667,5.037,0.732), (4.972,0.667,5.037,0.732), (4.972,0.667,5.037,0.732), (4.972,0.667,5.175,0.732), (5.11,0.667,5.245,0.732), (5.11,0.667,5.175,0.732), (5.18,0.667,5.245,0.732), (5.18,0.667,5.312,0.732), (5.247,0.667,5.382,0.732), (5.317,0.667,5.382,0.732), (5.317,0.667,5.382,0.732), (5.317,0.667,5.6,0.732), (5.535,0.667,5.6,0.732), (5.535,0.667,5.6,0.732), (5.535,0.667,5.6,0.732), (5.535,0.667,5.737,0.732), (5.672,0.667,5.737,0.732), (5.672,0.667,5.875,0.732), (5.81,0.667,5.875,0.732), (5.81,0.667,5.875,0.732), (5.81,0.667,5.875,0.732), (5.81,0.667,6.015,0.732), (5.95,0.667,6.015,0.732), (5.95,0.667,6.072,0.732), (6.007,0.667,6.142,0.732), (6.367,0.667,6.507,0.742), (6.407,0.667,6.472,0.732), (7.112,0.667,7.247,0.75), (7.147,0.667,7.212,0.732), (7.457,0.92,7.522,1.195), (7.642,0.92,7.707,0.985), (7.642,0.92,7.707,0.985), (7.642,0.92,7.712,1.195), (6.692,1.06,6.757,1.195), (7.072,1.06,7.137,1.195), (7.647,1.087,7.712,1.152), (6.692,1.13,6.757,1.35), (7.072,1.13,7.137,1.35), (7.457,1.13,7.522,1.35), (0,1.285,7.76,1.4)])
R(complex109, boundary, [(0,0,7.76,1.4)])
complex109.add(gdstk.Label('A', (7.18,0.7), layer=11, texttype=0))
complex109.add(gdstk.Label('B', (3.78,0.7), layer=11, texttype=0))
complex109.add(gdstk.Label('C', (2.12,0.7), layer=11, texttype=0))
complex109.add(gdstk.Label('D', (0.18,0.7), layer=11, texttype=0))
complex109.add(gdstk.Label('E', (1.84,0.7), layer=11, texttype=0))
complex109.add(gdstk.Label('F', (4.74,0.7), layer=11, texttype=0))
complex109.add(gdstk.Label('G', (6.44,0.7), layer=11, texttype=0))
complex109.add(gdstk.Label('H', (4.14,0.7), layer=11, texttype=0))
complex109.add(gdstk.Label('Y', (7.68,1.12), layer=11, texttype=0))
complex109.add(gdstk.Label('VCC', (0,1.4), layer=11, texttype=0))
complex109.add(gdstk.Label('GND', (0,0), layer=11, texttype=0))

lib.write_gds('COMPLEX109.gds')
